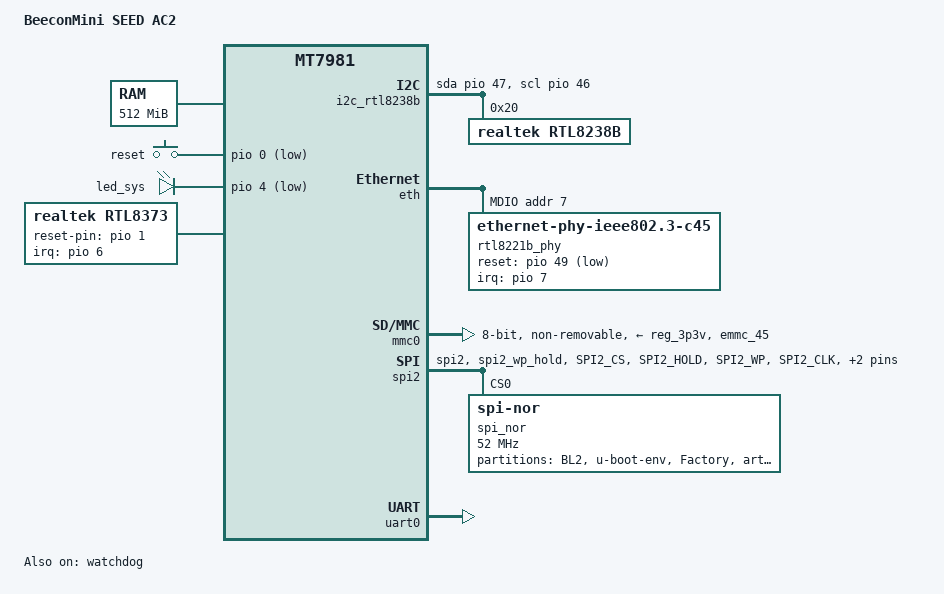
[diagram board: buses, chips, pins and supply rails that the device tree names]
// SPDX-License-Identifier: GPL-2.0-or-later OR MIT

/dts-v1/;
#include <dt-bindings/gpio/gpio.h>
#include <dt-bindings/input/input.h>

#include "mt7981.dtsi"

/ {
	model = "BeeconMini SEED AC2";
	compatible = "beeconmini,seed-ac2", "mediatek,mt7981";

	aliases {
		serial0 = &uart0;
		led-boot = &led_sys;
		led-failsafe = &led_sys;
		led-running = &led_sys;
		led-upgrade = &led_sys;
	};

	chosen {
		stdout-path = "serial0:115200n8";
		bootargs = "root=PARTLABEL=rootfs rootfstype=squashfs,f2fs rootwait fstools_partname_fallback_scan=1";
	};

	memory {
		reg = <0 0x40000000 0 0x20000000>;
	};

	gpio-keys {
		compatible = "gpio-keys";

		reset {
			label = "reset";
			linux,code = <KEY_RESTART>;
			gpios = <&pio 0 GPIO_ACTIVE_LOW>;
		};
	};

	leds {
		compatible = "gpio-leds";

		led_sys: led_sys {
			label = "led_sys";
			gpios = <&pio 4 GPIO_ACTIVE_LOW>;
		};
	};

	rtl8373 {
		compatible = "realtek,rtl8373";
		mediatek,mdio = <&mdio_bus>;
		mediatek,reset-pin = <&pio 1 GPIO_ACTIVE_HIGH>;
		interrupt-parent = <&pio>;
		interrupts = <6 IRQ_TYPE_LEVEL_LOW>;
		status = "okay";
	};

	i2c_rtl8238b {
		compatible = "i2c-gpio";
		sda-gpios = <&pio 47 (GPIO_ACTIVE_HIGH | GPIO_OPEN_DRAIN)>;
		scl-gpios = <&pio 46 (GPIO_ACTIVE_HIGH | GPIO_OPEN_DRAIN)>;
		i2c-gpio,delay-us = <2>;
		#address-cells = <1>;
		#size-cells = <0>;

		rtl8238b: rtl8238b@20 {
			compatible = "realtek,rtl8238b";
			reg = <0x20>;
		};
	};
};

&sgmiisys0 {
	/delete-property/ mediatek,pnswap;
};

&eth {
	status = "okay";

	gmac0: mac@0 {
		compatible = "mediatek,eth-mac";
		reg = <0>;
		phy-mode = "2500base-x";

		fixed-link {
			speed = <2500>;
			full-duplex;
			pause;
		};
	};

	gmac1: mac@1 {
		compatible = "mediatek,eth-mac";
		reg = <1>;
		phy-mode = "2500base-x";
		phy-handle = <&rtl8221b_phy>;
	};

	mdio-bus {
		#address-cells = <1>;
		#size-cells = <0>;

		rtl8221b_phy: ethernet-phy@7 {
			compatible = "ethernet-phy-ieee802.3-c45";
			reg = <7>;
			reset-gpios = <&pio 49 GPIO_ACTIVE_LOW>;
			interrupt-parent = <&pio>;
			interrupts = <7 IRQ_TYPE_LEVEL_LOW>;
			reset-assert-us = <100000>;
			reset-deassert-us = <100000>;
		};
	};
};

&mmc0 {
	max-frequency = <26000000>;
	no-sd;
	no-sdio;
	pinctrl-names = "default", "state_uhs";
	pinctrl-0 = <&mmc0_pins_default>;
	pinctrl-1 = <&mmc0_pins_uhs>;
	vmmc-supply = <&reg_3p3v>;
	non-removable;
	status = "okay";
	bus-width = <8>;
};

&spi1 {
	pinctrl-names = "default";
	pinctrl-0 = <&spic_pins>;
	status = "disabled";
};

&spi2 {
	pinctrl-names = "default";
	pinctrl-0 = <&spi2_flash_pins>;
	status = "okay";

	spi_nor@0 {
		#address-cells = <1>;
		#size-cells = <1>;
		compatible = "jedec,spi-nor";
		reg = <0>;
		spi-max-frequency = <52000000>;
		spi-tx-buswidth = <4>;
		spi-rx-buswidth = <4>;

		partition@00000 {
			label = "BL2";
			reg = <0x00000 0x0040000>;
		};

		partition@40000 {
			label = "u-boot-env";
			reg = <0x40000 0x0010000>;
		};

		partition@50000 {
			label = "Factory";
			reg = <0x50000 0x00A0000>;
		};

		partition@F0000 {
			label = "art";
			reg = <0xF0000 0x0010000>;
		};

		partition@100000 {
			label = "FIP";
			reg = <0x100000 0x0200000>;
		};
	};
};

&pio {
	spic_pins: spi1-pins {
		mux {
			function = "spi";
			groups = "spi1_1";
		};
	};

	spi2_flash_pins: spi2-pins {
		mux {
			function = "spi";
			groups = "spi2", "spi2_wp_hold";
		};

		conf-pu {
			pins = "SPI2_CS", "SPI2_HOLD", "SPI2_WP";
			drive-strength = <MTK_DRIVE_8mA>;
			bias-pull-up = <MTK_PUPD_SET_R1R0_11>;
		};

		conf-pd {
			pins = "SPI2_CLK", "SPI2_MOSI", "SPI2_MISO";
			drive-strength = <MTK_DRIVE_8mA>;
			bias-pull-down = <MTK_PUPD_SET_R1R0_11>;
		};
	};

	mmc0_pins_default: mmc0-pins-default {
		mux {
			function = "flash";
			groups = "emmc_45";
		};
	};

	mmc0_pins_uhs: mmc0-pins-uhs {
		mux {
			function = "flash";
			groups = "emmc_45";
		};
	};
};

&uart0 {
	status = "okay";
};

&watchdog {
	status = "okay";
};
